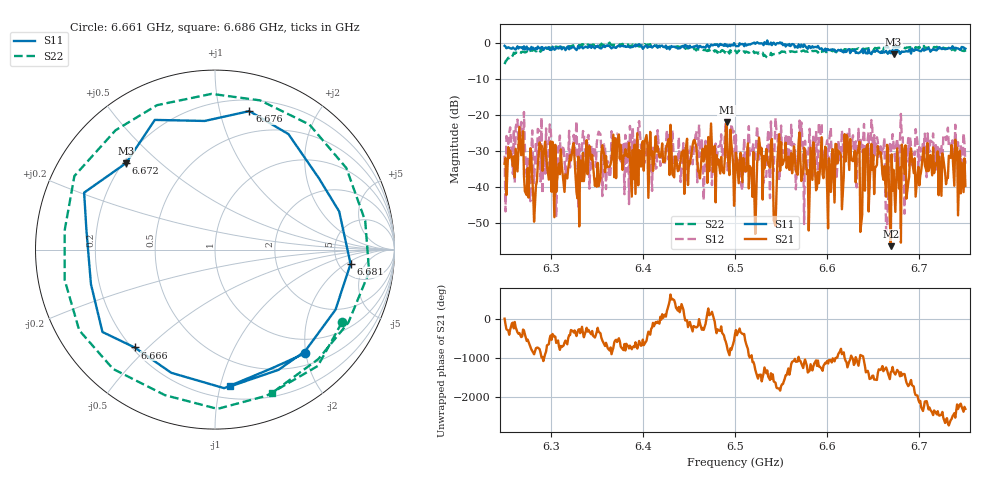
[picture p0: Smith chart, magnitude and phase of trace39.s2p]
# Hz S RI R 50
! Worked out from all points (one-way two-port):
!   401 points, 6.25 GHz to 6.75 GHz, reference 50 ohm
!   highest |S21| = -22.11 dB at 6.491 GHz (marker M1); lowest = -56.5 dB at 6.669 GHz (marker M2)
!   lowest |S11| = -3.2 dB at 6.672 GHz (marker M3), VSWR 5.48, Z = 10.6 + j19.5 ohm
!   |S11| at or under -10 dB: nowhere
!   |S22| runs from -5.9 to 0.1 dB; largest |S21 - S12| = 0.14
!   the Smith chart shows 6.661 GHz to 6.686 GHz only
!   S11 on the Smith chart (normalised r, x): 6.661 GHz: 0.72, -1.99; 6.666 GHz: 0.21, -0.46; 6.672 GHz: 0.21, +0.39; 6.676 GHz: 0.29, +1.24; 6.681 GHz: 6.39, -2.41; 6.686 GHz: 0.29, -1.07
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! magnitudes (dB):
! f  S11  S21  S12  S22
! 6.25 GHz  -0.8  -33.6  -31.4  -5.9
! 6.268 GHz  -1.3  -31.2  -22.0  -2.7
! 6.282 GHz  -1.7  -49.7  -39.0  -1.9
! 6.29 GHz  -1.2  -28.6  -20.7  -1.9
! 6.3 GHz  -2.0  -27.4  -24.4  -1.3
! 6.305 GHz  -1.8  -28.3  -39.2  -1.1
! 6.334 GHz  -1.1  -38.5  -28.7  -0.4
! 6.418 GHz  -1.0  -31.9  -31.6  -0.7
! 6.491 GHz  -0.5  -22.1  -27.1  -2.9
! 6.5 GHz  -0.6  -38.7  -34.7  -2.1
! 6.505 GHz  -0.1  -33.0  -32.5  -2.3
! 6.544 GHz  -0.5  -50.9  -20.9  -3.0
! 6.584 GHz  -0.9  -38.1  -32.1  -2.2
! 6.661 GHz  -2.3  -38.1  -30.1  -1.8
! 6.666 GHz  -3.0  -29.8  -44.7  -1.3
! 6.668 GHz  -2.2  -48.8  -28.1  -1.2
! 6.669 GHz  -2.9  -56.5  -30.1  -1.1
! 6.672 GHz  -3.2  -35.3  -27.9  -1.1
! 6.676 GHz  -2.0  -29.4  -26.6  -1.2
! 6.681 GHz  -2.4  -28.3  -26.5  -1.4
! 6.686 GHz  -2.3  -43.3  -33.1  -1.3
! 6.75 GHz  -1.6  -39.8  -33.6  -2.5
